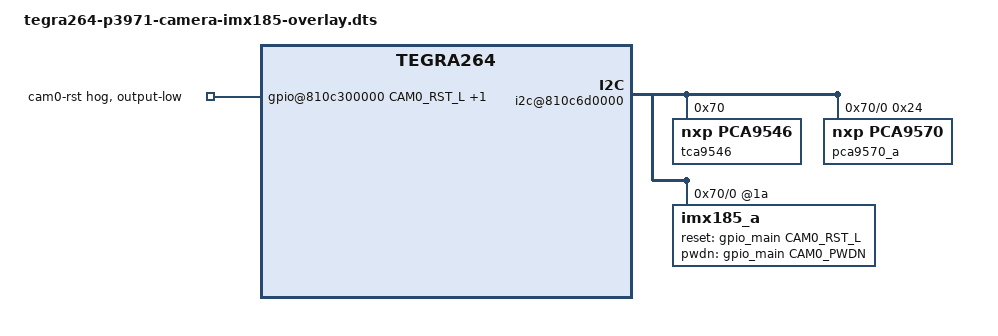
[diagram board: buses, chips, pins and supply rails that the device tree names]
// SPDX-License-Identifier: GPL-2.0-only
// SPDX-FileCopyrightText: Copyright (c) 2025, NVIDIA CORPORATION & AFFILIATES. All rights reserved.
/*
 * Jetson Device-tree overlay for Camera IMX185 on T264 platforms - new version
 *
 */
/dts-v1/;
/plugin/;

#include "tegra264-camera-imx185-a00.dtsi"
#include <dt-bindings/clock/tegra264-clk.h>
#include <dt-bindings/gpio/tegra264-gpio.h>

/* camera control gpio definitions */
#define CAM0_RST_L	TEGRA264_MAIN_GPIO(V, 2)
#define CAM0_PWDN	TEGRA264_MAIN_GPIO(AL, 1)
#define JETSON_COMPATIBLE	"nvidia,p3971-0089+p3834-0008", "nvidia,p3971-0050+p3834-0005", "nvidia,p3971-0080+p3834-0008", "nvidia,p3834-0008", "nvidia,tegra264"

/ {
	overlay-name = "Jetson Camera IMX185";
	jetson-header-name = "Jetson AGX CSI Connector";
	compatible = JETSON_COMPATIBLE;

	fragment-camera-imx185@0 {
		target-path = "/";

		board_config {
			ids = "LPRD-002001", "LPRD-002", "LPRD-001";
			sw-modules = "kernel";
		};

		__overlay__ {
			bus@0 {
				gpio@810c300000 {
					camera-control-output-low {
						gpio-hog;
						output-low;
						gpios = <CAM0_RST_L 0 CAM0_PWDN 0>;
						label = "cam0-rst", "cam0-pwdn";
					};
				};

				i2c@810c6d0000 {
					tca9546@70 {
						compatible = "nxp,pca9546";
						reg = <0x70>;
						#address-cells = <1>;
						#size-cells = <0>;
						skip_mux_detect = "yes";

						i2c@0 {
							reg = <0>;
							i2c-mux,deselect-on-exit;
							#address-cells = <1>;
							#size-cells = <0>;
							pca9570_a@24 {
								compatible = "nxp,pca9570";
								reg = <0x24>;
								channel = "a";
								drive_ic = "DRV8838";
							};

							imx185_a@1a {
								/* Define any required hw resources needed by driver */
								/* ie. clocks, io pins, power sources */
								clocks = <&bpmp TEGRA264_CLK_EXTPERIPH1>,
									<&bpmp TEGRA264_CLK_EXTPERIPH1>;
								clock-names = "extperiph1", "pllp_grtba";
								mclk = "extperiph1";
								reset-gpios = <&gpio_main CAM0_RST_L GPIO_ACTIVE_HIGH>;
								pwdn-gpios = <&gpio_main CAM0_PWDN GPIO_ACTIVE_HIGH>;
							};
						};
					};
				};
			};
		};
	};
};
